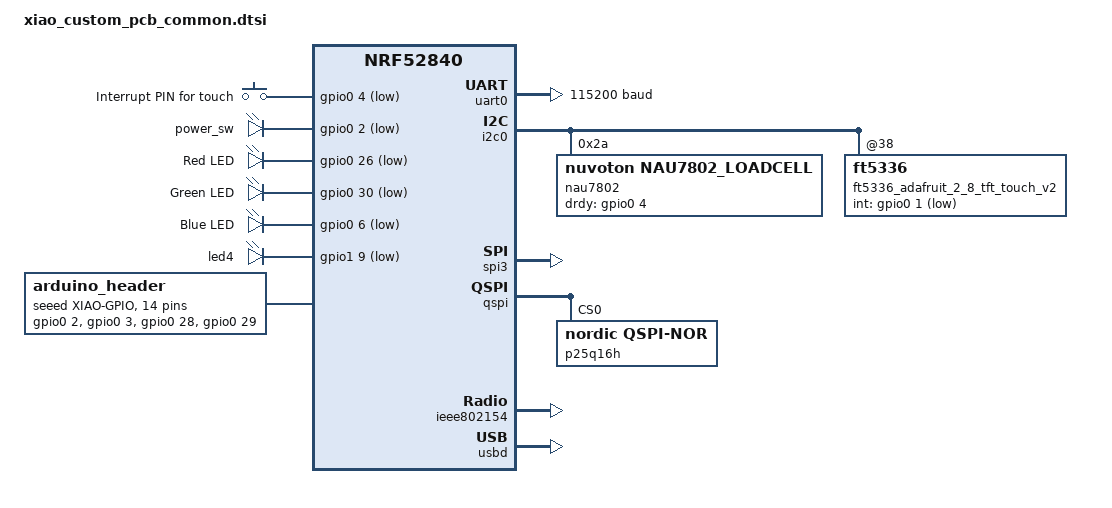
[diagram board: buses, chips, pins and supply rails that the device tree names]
/*
 * Copyright (c) 2022 Marcin Niestroj
 * Copyright (c) 2022 Peter Johanson
 *
 * SPDX-License-Identifier: Apache-2.0
 */

#include <nordic/nrf52840_qiaa.dtsi>
#include "xiao_custom_pcb-pinctrl.dtsi"

/ {
	chosen {
		zephyr,console = &usb_cdc_acm_uart;
		zephyr,shell-uart = &usb_cdc_acm_uart;
		zephyr,uart-mcumgr = &usb_cdc_acm_uart;
		zephyr,bt-mon-uart = &usb_cdc_acm_uart;
		zephyr,bt-c2h-uart = &usb_cdc_acm_uart;
		zephyr,sram = &sram0;
		zephyr,flash = &flash0;
		zephyr,code-partition = &code_partition;
		zephyr,ieee802154 = &ieee802154;
	};
	
    interrupt-pins {
        compatible = "gpio-keys";
        touch_irq: touch_irq {
            gpios = <&gpio0 4 (GPIO_PULL_DOWN | GPIO_ACTIVE_LOW)>;
            label = "Interrupt PIN for touch";
            zephyr,code = <INPUT_KEY_0>;
        };
    };

    control-pins {
        compatible = "gpio-leds";
        power_sw: tck108af {
            gpios = <&gpio0 2 GPIO_ACTIVE_LOW>;
        };
    };

	leds {
		compatible = "gpio-leds";
		led0: led_0 {
			gpios = <&gpio0 26 GPIO_ACTIVE_LOW>;
			label = "Red LED";
		};
		led1: led_1 {
			gpios = <&gpio0 30 GPIO_ACTIVE_LOW>;
			label = "Green LED";
		};
		led2: led_2 {
			gpios = <&gpio0 6 GPIO_ACTIVE_LOW>;
			label = "Blue LED";
		};
        led4: led4 {
            gpios = <&gpio1 9 GPIO_ACTIVE_LOW>;
        };
	};

	arduino_header: connector {
		#compatible = "arduino-header-r3";
		compatible = "seeed,xiao-gpio";
		#gpio-cells = <2>;
		gpio-map-mask = <0xffffffff 0xffffffc0>;
		gpio-map-pass-thru = <0 0x3f>;
		gpio-map =
			<0 0 &gpio0 2 0>, /* D0 */
			<1 0 &gpio0 3 0>, /* D1 */
			<2 0 &gpio0 28 0>, /* D2 */
			<3 0 &gpio0 29 0>, /* D3 */
			<4 0 &gpio0 4 0>, /* D4 */
			<5 0 &gpio0 5 0>, /* D5 */
			<6 0 &gpio1 11 0>, /* D6 */
			<7 0 &gpio1 12 0>, /* D7 */
			<8 0 &gpio1 13 0>, /* D8 */
			<9 0 &gpio1 14 0>, /* D9 */
			<10 0 &gpio1 15 0>, /* D10 */
			/* Fix this hack */
			<11 0 &gpio0 8 0>,
			<15 0 &gpio0 8 0>,
			<16 0 &gpio0 8 0>;
	};

	adafruit_2_8_tft_touch_v2_mipi_dbi {
		dc-gpios = <&gpio1 6 GPIO_ACTIVE_HIGH>;
	};

	/* These aliases are provided for compatibility with samples */
	aliases {
		led0 = &led0;
		led1 = &led1;
		led2 = &led2;
		bootloader-led0 = &led0;
		mcuboot-led0 = &led0;
		watchdog0 = &wdt0;
		spi-flash0 = &p25q16h;
	};
};

&uicr {
	gpio-as-nreset;
};

&gpiote {
	status = "okay";
};

&gpio0 {
	status = "okay";
};

&gpio1 {
	status = "okay";
};

xiao_serial: &uart0 {
	compatible = "nordic,nrf-uarte";
	status = "okay";
	current-speed = <115200>;
	pinctrl-0 = <&uart0_default>;
	pinctrl-1 = <&uart0_sleep>;
	pinctrl-names = "default", "sleep";
};

arduino_i2c: &i2c0 {
	compatible = "nordic,nrf-twi";
	status = "okay";
	pinctrl-0 = <&i2c0_default>;
	pinctrl-1 = <&i2c0_sleep>;
	pinctrl-names = "default", "sleep";

nau7802: nau7802_loadcell@2A {
    compatible = "nuvoton,nau7802_loadcell";
    reg = <0x2A>;
    drdy-gpios = <&gpio0 4 GPIO_ACTIVE_HIGH>;
    conversions-per-second = <320>; //SPS
    gain = <64>;
};

ft5336_adafruit_2_8_tft_touch_v2: ft5336@38 {
		/* Uncomment if IRQ line is available (requires to solder jumper) */
		int-gpios = <&gpio0 1 GPIO_ACTIVE_LOW>;
	};
};

arduino_spi: &spi3 {
	compatible = "nordic,nrf-spim";
	status = "okay";
	cs-gpios = <&gpio1 12 GPIO_ACTIVE_LOW>;
	pinctrl-0 = <&spi3_default>;
	pinctrl-1 = <&spi3_sleep>;
	pinctrl-names = "default", "sleep";
};

&qspi {
	status = "okay";
	pinctrl-0 = <&qspi_default>;
	pinctrl-1 = <&qspi_sleep>;
	pinctrl-names = "default", "sleep";
	p25q16h: p25q16h@0 {
		compatible = "nordic,qspi-nor";
		reg = <0>;
		sck-frequency = <104000000>;
		quad-enable-requirements = "S2B1v1";
		jedec-id = [85 60 15];
		sfdp-bfp = [
			e5 20 f1 ff  ff ff ff 00  44 eb 08 6b  08 3b 80 bb
			ee ff ff ff  ff ff 00 ff  ff ff 00 ff  0c 20 0f 52
			10 d8 08 81
		];
		size = <16777216>;
		has-dpd;
		t-enter-dpd = <3000>;
		t-exit-dpd = <8000>;
	};
};

&ieee802154 {
	status = "okay";
};

&flash0 {
	partitions {
		compatible = "fixed-partitions";
		#address-cells = <1>;
		#size-cells = <1>;

		sd_partition: partition@0 {
			label = "softdevice";
			reg = <0x00000000 0x00027000>;
		};

		code_partition: partition@27000 {
			label = "code_partition";
			reg = <0x00027000 0x000c5000>;
		};

		/*
		 * The flash starting at 0x000ec000 and ending at
		 * 0x000f3fff is reserved for use by the application.
		 *
		 * Storage partition will be used by FCB/LittleFS/NVS
		 * if enabled.
		 */
		storage_partition: partition@ec000 {
			label = "storage";
			reg = <0x000ec000 0x00008000>;
		};

		boot_partition: partition@f4000 {
			label = "adafruit_boot";
			reg = <0x000f4000 0x0000c000>;
		};
	};
};

zephyr_udc0: &usbd {
	compatible = "nordic,nrf-usbd";
	status = "okay";

	usb_cdc_acm_uart: cdc-acm-uart {
		compatible = "zephyr,cdc-acm-uart";
	};
};
